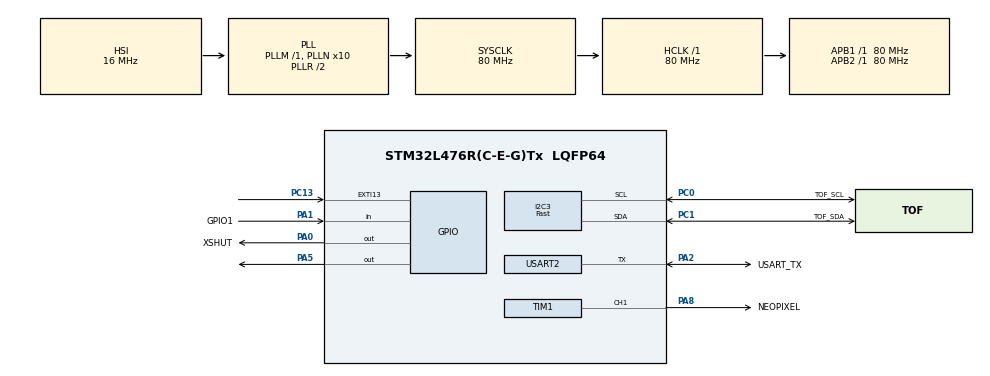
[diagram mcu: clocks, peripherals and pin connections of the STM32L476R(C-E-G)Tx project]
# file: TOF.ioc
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Dma.Request0=TIM1_CH1
Dma.TIM1_CH1.0.Direction=DMA_MEMORY_TO_PERIPH
Dma.TIM1_CH1.0.Instance=DMA1_Channel2
Dma.TIM1_CH1.0.MemDataAlignment=DMA_MDATAALIGN_HALFWORD
Dma.TIM1_CH1.0.MemInc=DMA_MINC_ENABLE
Dma.TIM1_CH1.0.Mode=DMA_NORMAL
Dma.TIM1_CH1.0.PeriphDataAlignment=DMA_PDATAALIGN_HALFWORD
Dma.TIM1_CH1.0.PeriphInc=DMA_PINC_DISABLE
Dma.TIM1_CH1.0.Priority=DMA_PRIORITY_LOW
I2C3.CustomTiming=Disabled
I2C3.I2C_Rise_Time=120
I2C3.I2C_Speed_Mode=I2C_Fast
I2C3.Timing=0x1081143F
Mcu.Family=STM32L4
Mcu.Name=STM32L476R(C-E-G)Tx
Mcu.Package=LQFP64
NUCLEO-L476RG.BUTTON=1
NUCLEO-L476RG.LD2=true
NVIC.DMA1_Channel2_IRQn=true\:0\:0\:false\:false\:true\:false\:true\:true
NVIC.EXTI15_10_IRQn=true\:0\:0\:false\:false\:true\:false\:true\:true
NVIC.PriorityGroup=NVIC_PRIORITYGROUP_4
PA0.GPIO_Label=XSHUT
PA0.GPIO_PuPd=GPIO_NOPULL
PA0.Signal=GPIO_Output
PA1.GPIO_Label=GPIO1
PA1.GPIO_PuPd=GPIO_NOPULL
PA1.Signal=GPIO_Input
PA13\ (JTMS-SWDIO).GPIO_Label=TMS
PA13\ (JTMS-SWDIO).Signal=SYS_JTMS-SWDIO
PA14\ (JTCK-SWCLK).GPIO_Label=TCK
PA14\ (JTCK-SWCLK).Signal=SYS_JTCK-SWCLK
PA2.GPIO_Label=USART_TX
PA2.GPIO_Mode=GPIO_MODE_AF_PP
PA2.GPIO_PuPd=GPIO_NOPULL
PA2.GPIO_Speed=GPIO_SPEED_FREQ_VERY_HIGH
PA2.Mode=Half_duplex(single_wire_mode)
PA2.Signal=USART2_TX
PA3.GPIO_Label=USART_RX
PA3.GPIO_Mode=GPIO_MODE_AF_PP
PA3.GPIO_PuPd=GPIO_NOPULL
PA3.GPIO_Speed=GPIO_SPEED_FREQ_VERY_HIGH
PA3.Signal=USART2_RX
PA5.Signal=GPIO_Output
PA8.GPIO_Label=NEOPIXEL
PA8.Signal=S_TIM1_CH1
PB3\ (JTDO-TRACESWO).GPIO_Label=SWO
PB3\ (JTDO-TRACESWO).Signal=SYS_JTDO-SWO
PC0.GPIO_Label=TOF_SCL
PC0.GPIO_Pu=GPIO_PULLUP
PC0.Mode=I2C
PC0.Signal=I2C3_SCL
PC1.GPIO_Label=TOF_SDA
PC1.GPIO_Pu=GPIO_PULLUP
PC1.Mode=I2C
PC1.Signal=I2C3_SDA
PC13.Signal=GPXTI13
PC14-OSC32_IN\ (PC14).Signal=RCC_OSC32_IN
PC15-OSC32_OUT\ (PC15).Signal=RCC_OSC32_OUT
PH0-OSC_IN\ (PH0).Signal=RCC_OSC_IN
PH1-OSC_OUT\ (PH1).Signal=RCC_OSC_OUT
ProjectManager.HeapSize=0x200
ProjectManager.StackSize=0x400
ProjectManager.TargetToolchain=STM32CubeIDE
RCC.ADCFreq_Value=64000000
RCC.AHBFreq_Value=80000000
RCC.APB1Freq_Value=80000000
RCC.APB1TimFreq_Value=80000000
RCC.APB2Freq_Value=80000000
RCC.APB2TimFreq_Value=80000000
RCC.CortexFreq_Value=80000000
RCC.HCLKFreq_Value=80000000
RCC.HSE_VALUE=8000000
RCC.HSI_VALUE=16000000
RCC.LSE_VALUE=32768
RCC.MSI_VALUE=4000000
RCC.PLLN=10
RCC.PLLSourceVirtual=RCC_PLLSOURCE_HSI
RCC.PREFETCH_ENABLE=1
RCC.SYSCLKFreq_VALUE=80000000
RCC.SYSCLKSource=RCC_SYSCLKSOURCE_PLLCLK
RCC.USBFreq_Value=64000000
RCC.VCOOutputFreq_Value=160000000
SH.S_TIM1_CH1.0=TIM1_CH1,PWM Generation1 CH1
TIM1.Channel-PWM\ Generation1\ CH1=TIM_CHANNEL_1
TIM1.Period=100-1
USART2.VirtualMode-Half_duplex(single_wire_mode)=VM_ASYNC
VP_NUCLEO-L476RG_VS_BSP_COMMON.Mode=COMMON
board=NUCLEO-L476RG

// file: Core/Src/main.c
/* USER CODE BEGIN Header */
/**
 ******************************************************************************
 * @file           : main.c
 * @brief          : Main program body
 ******************************************************************************
 * @attention
 *
 * Copyright (c) 2026 STMicroelectronics.
 * All rights reserved.
 *
 * This software is licensed under terms that can be found in the LICENSE file
 * in the root directory of this software component.
 * If no LICENSE file comes with this software, it is provided AS-IS.
 *
 ******************************************************************************
 */
/* USER CODE END Header */
#include "main.h"
#include "dma.h"
#include "i2c.h"
#include "tim.h"
#include "usart.h"
#include "gpio.h"

/* USER CODE BEGIN Includes */
#include "VL53L0X.h"
#include "stdio.h"
#include "string.h"

/* USER CODE END Includes */

void SystemClock_Config(void);

int main(void)
{

  /* MCU Configuration--------------------------------------------------------*/

  /* Reset of all peripherals, Initializes the Flash interface and the Systick. */
  HAL_Init();

  /* USER CODE BEGIN Init */

	vl53l0x_t tof_sensor;
	vl53l0x_stats_t tof_stats;
	uint16_t distance_mm = 0;
  /* USER CODE END Init */

  /* Configure the system clock */
  SystemClock_Config();

  /* Initialize all configured peripherals */
  MX_GPIO_Init();
  MX_DMA_Init();
  MX_I2C3_Init();
  MX_USART2_UART_Init();
  MX_TIM1_Init();
  /* USER CODE BEGIN 2 */
	char uart_buf[128];
	int len;

	  HAL_GPIO_WritePin(XSHUT_GPIO_Port, XSHUT_Pin, GPIO_PIN_SET);

	/* Pause courte au démarrage pour stabiliser l'alimentation du capteur */
	HAL_Delay(50);

	/* 1. Initialisation du VL53L0X sur I2C1 (adresse par défaut 0x52 en 8 bits) */
	if (!VL53L0X_Init(&tof_sensor, &hi2c3)) {
		len = snprintf(uart_buf, sizeof(uart_buf), "Erreur : VL53L0X introuvable sur le bus I2C !\r\n");
		HAL_UART_Transmit(&huart2, (uint8_t *)uart_buf, len, 100);
		Error_Handler();
	}

	len = snprintf(uart_buf, sizeof(uart_buf), "VL53L0X initialise avec succes.\r\n");
	HAL_UART_Transmit(&huart2, (uint8_t *)uart_buf, len, 100);

	/* 2. Configuration optionnelle : Timeout et Budget de temps de mesure */
	VL53L0X_SetTimeout(&tof_sensor, 500); // Timeout de 500 ms

	/*
	 * Budget de temps (en microsecondes) :
	 * - 20000 us (20 ms)  : Mode rapide (moins précis)
	 * - 33000 us (33 ms)  : Par défaut
	 * - 200000 us (200 ms): Haute précision
	 */
	VL53L0X_SetMeasurementTimingBudget(&tof_sensor, 33000);

	/* 3. Démarrage du mode continu (0 = mesures enchaînées au plus vite, ou ex: 100 pour 100 ms) */
	VL53L0X_StartContinuous(&tof_sensor, 0);
  /* USER CODE END 2 */

  /* Initialize leds */
  BSP_LED_Init(LED_GREEN);

  /* Initialize USER push-button, will be used to trigger an interrupt each time it's pressed.*/
  BSP_PB_Init(BUTTON_USER, BUTTON_MODE_EXTI);

  /* Infinite loop */
  /* USER CODE BEGIN WHILE */
	while (1)
	{

		/* Lecture de la distance et remplissage de la structure de statistiques (&tof_stats) */
		/* Note : Vous pouvez passer NULL en 2e argument si vous ne voulez que la distance */
		distance_mm = VL53L0X_ReadDistanceContinuous(&tof_sensor, &tof_stats);

		/* Vérification de timeout I2C / capteur */
		if (VL53L0X_TimeoutOccurred(&tof_sensor)) {
			len = snprintf(uart_buf, sizeof(uart_buf), "Timeout lors de la lecture du capteur !\r\n");
			HAL_UART_Transmit(&huart2, (uint8_t *)uart_buf, len, 100);
		} else {
			/* En mode VL53L0X standard, range_status == 11 indique souvent une mesure valide,
			 * ou une distance inférieure à 8190 mm */
			len = snprintf(uart_buf, sizeof(uart_buf),
					"Distance: %u mm | Statut: %u | Signal: %u | Ambiant: %u\r\n",
					distance_mm,
					tof_stats.range_status,
					tof_stats.signal_cnt,
					tof_stats.ambient_cnt);
			HAL_UART_Transmit(&huart2, (uint8_t *)uart_buf, len, 100);
		}

		HAL_Delay(100);
    /* USER CODE END WHILE */

	}
}

void SystemClock_Config(void)
{
  RCC_OscInitTypeDef RCC_OscInitStruct = {0};
  RCC_ClkInitTypeDef RCC_ClkInitStruct = {0};

  /** Configure the main internal regulator output voltage
  */
  if (HAL_PWREx_ControlVoltageScaling(PWR_REGULATOR_VOLTAGE_SCALE1) != HAL_OK)
  {
    Error_Handler();
  }

  /** Initializes the RCC Oscillators according to the specified parameters
  * in the RCC_OscInitTypeDef structure.
  */
  RCC_OscInitStruct.OscillatorType = RCC_OSCILLATORTYPE_HSI;
  RCC_OscInitStruct.HSIState = RCC_HSI_ON;
  RCC_OscInitStruct.HSICalibrationValue = RCC_HSICALIBRATION_DEFAULT;
  RCC_OscInitStruct.PLL.PLLState = RCC_PLL_ON;
  RCC_OscInitStruct.PLL.PLLSource = RCC_PLLSOURCE_HSI;
  RCC_OscInitStruct.PLL.PLLM = 1;
  RCC_OscInitStruct.PLL.PLLN = 10;
  RCC_OscInitStruct.PLL.PLLP = RCC_PLLP_DIV7;
  RCC_OscInitStruct.PLL.PLLQ = RCC_PLLQ_DIV2;
  RCC_OscInitStruct.PLL.PLLR = RCC_PLLR_DIV2;
  if (HAL_RCC_OscConfig(&RCC_OscInitStruct) != HAL_OK)
  {
    Error_Handler();
  }

  /** Initializes the CPU, AHB and APB buses clocks
  */
  RCC_ClkInitStruct.ClockType = RCC_CLOCKTYPE_HCLK|RCC_CLOCKTYPE_SYSCLK
                              |RCC_CLOCKTYPE_PCLK1|RCC_CLOCKTYPE_PCLK2;
  RCC_ClkInitStruct.SYSCLKSource = RCC_SYSCLKSOURCE_PLLCLK;
  RCC_ClkInitStruct.AHBCLKDivider = RCC_SYSCLK_DIV1;
  RCC_ClkInitStruct.APB1CLKDivider = RCC_HCLK_DIV1;
  RCC_ClkInitStruct.APB2CLKDivider = RCC_HCLK_DIV1;

  if (HAL_RCC_ClockConfig(&RCC_ClkInitStruct, FLASH_LATENCY_4) != HAL_OK)
  {
    Error_Handler();
  }
}

void Error_Handler(void)
{
	__disable_irq();
	while (1)
	{
	}
}
